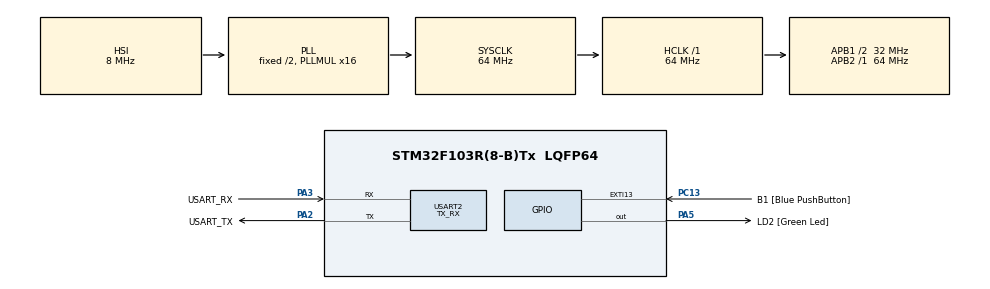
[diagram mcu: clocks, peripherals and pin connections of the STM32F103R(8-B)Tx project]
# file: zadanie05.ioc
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Mcu.Family=STM32F1
Mcu.Name=STM32F103R(8-B)Tx
Mcu.Package=LQFP64
NVIC.EXTI15_10_IRQn=true\:0\:0\:false\:false\:true\:true\:true
NVIC.PriorityGroup=NVIC_PRIORITYGROUP_4
NVIC.USART2_IRQn=true\:0\:0\:false\:false\:true\:true\:true
PA13.GPIO_Label=TMS
PA13.Mode=Serial_Wire
PA13.Signal=SYS_JTMS-SWDIO
PA14.GPIO_Label=TCK
PA14.Mode=Serial_Wire
PA14.Signal=SYS_JTCK-SWCLK
PA2.GPIO_Label=USART_TX
PA2.GPIO_Mode=GPIO_MODE_AF_PP
PA2.GPIO_PuPd=GPIO_NOPULL
PA2.GPIO_Speed=GPIO_SPEED_FREQ_LOW
PA2.Mode=Asynchronous
PA2.Signal=USART2_TX
PA3.GPIO_Label=USART_RX
PA3.GPIO_Mode=GPIO_MODE_AF_PP
PA3.GPIO_PuPd=GPIO_NOPULL
PA3.GPIO_Speed=GPIO_SPEED_FREQ_LOW
PA3.Mode=Asynchronous
PA3.Signal=USART2_RX
PA5.GPIO_Label=LD2 [Green Led]
PA5.GPIO_ModeDefaultOutputPP=GPIO_MODE_OUTPUT_PP
PA5.GPIO_PuPd=GPIO_NOPULL
PA5.GPIO_Speed=GPIO_SPEED_FREQ_LOW
PA5.Signal=GPIO_Output
PB3.GPIO_Label=SWO
PB3.Signal=SYS_JTDO-TRACESWO
PC13-TAMPER-RTC.GPIO_Label=B1 [Blue PushButton]
PC13-TAMPER-RTC.GPIO_PuPd=GPIO_NOPULL
PC13-TAMPER-RTC.Signal=GPXTI13
PC14-OSC32_IN.Mode=LSE-External-Oscillator
PC14-OSC32_IN.Signal=RCC_OSC32_IN
PC15-OSC32_OUT.Mode=LSE-External-Oscillator
PC15-OSC32_OUT.Signal=RCC_OSC32_OUT
PD0-OSC_IN.Mode=HSE-External-Clock-Source
PD0-OSC_IN.Signal=RCC_OSC_IN
PD1-OSC_OUT.Mode=HSE-External-Clock-Source
PD1-OSC_OUT.Signal=RCC_OSC_OUT
ProjectManager.HeapSize=0x200
ProjectManager.StackSize=0x400
ProjectManager.TargetToolchain=STM32CubeIDE
RCC.AHBFreq_Value=64000000
RCC.APB1CLKDivider=RCC_HCLK_DIV2
RCC.APB1Freq_Value=32000000
RCC.APB1TimFreq_Value=64000000
RCC.APB2Freq_Value=64000000
RCC.APB2TimFreq_Value=64000000
RCC.HCLKFreq_Value=64000000
RCC.PLLMUL=RCC_PLL_MUL16
RCC.RTCClockSelection=RCC_RTCCLKSOURCE_LSE
RCC.SYSCLKFreq_VALUE=64000000
RCC.SYSCLKSource=RCC_SYSCLKSOURCE_PLLCLK
RCC.USBFreq_Value=64000000
USART2.Mode=MODE_TX_RX
USART2.VirtualMode=VM_ASYNC
board=NUCLEO-F103RB

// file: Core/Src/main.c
/* USER CODE BEGIN Header */
/**
  ******************************************************************************
  * @file           : main.c
  * @brief          : Main program body
  ******************************************************************************
  * @attention
  *
  * <h2><center>&copy; Copyright (c) 2022 STMicroelectronics.
  * All rights reserved.</center></h2>
  *
  * This software component is licensed by ST under BSD 3-Clause license,
  * the "License"; You may not use this file except in compliance with the
  * License. You may obtain a copy of the License at:
  *                        opensource.org/licenses/BSD-3-Clause
  *
  ******************************************************************************
  */
/* USER CODE END Header */
#include "main.h"
#include "usart.h"
#include "gpio.h"

/* USER CODE BEGIN PV */
uint8_t znak;
uint8_t kom[33];
uint16_t dl_kom;
/* USER CODE END PV */

void SystemClock_Config(void);

int main(void)
{

  /* MCU Configuration--------------------------------------------------------*/

  /* Reset of all peripherals, Initializes the Flash interface and the Systick. */
  HAL_Init();

  /* Configure the system clock */
  SystemClock_Config();

  /* Initialize all configured peripherals */
  MX_GPIO_Init();
  MX_USART2_UART_Init();
  /* USER CODE BEGIN 2 */
  HAL_UART_Receive_IT(&huart2, &znak, 1);
  /* USER CODE END 2 */

  /* Infinite loop */
  while (1)
  {

  }
}

void SystemClock_Config(void)
{
  RCC_OscInitTypeDef RCC_OscInitStruct = {0};
  RCC_ClkInitTypeDef RCC_ClkInitStruct = {0};

  /** Initializes the RCC Oscillators according to the specified parameters
  * in the RCC_OscInitTypeDef structure.
  */
  RCC_OscInitStruct.OscillatorType = RCC_OSCILLATORTYPE_HSI;
  RCC_OscInitStruct.HSIState = RCC_HSI_ON;
  RCC_OscInitStruct.HSICalibrationValue = RCC_HSICALIBRATION_DEFAULT;
  RCC_OscInitStruct.PLL.PLLState = RCC_PLL_ON;
  RCC_OscInitStruct.PLL.PLLSource = RCC_PLLSOURCE_HSI_DIV2;
  RCC_OscInitStruct.PLL.PLLMUL = RCC_PLL_MUL16;
  if (HAL_RCC_OscConfig(&RCC_OscInitStruct) != HAL_OK)
  {
    Error_Handler();
  }
  /** Initializes the CPU, AHB and APB buses clocks
  */
  RCC_ClkInitStruct.ClockType = RCC_CLOCKTYPE_HCLK|RCC_CLOCKTYPE_SYSCLK
                              |RCC_CLOCKTYPE_PCLK1|RCC_CLOCKTYPE_PCLK2;
  RCC_ClkInitStruct.SYSCLKSource = RCC_SYSCLKSOURCE_PLLCLK;
  RCC_ClkInitStruct.AHBCLKDivider = RCC_SYSCLK_DIV1;
  RCC_ClkInitStruct.APB1CLKDivider = RCC_HCLK_DIV2;
  RCC_ClkInitStruct.APB2CLKDivider = RCC_HCLK_DIV1;

  if (HAL_RCC_ClockConfig(&RCC_ClkInitStruct, FLASH_LATENCY_2) != HAL_OK)
  {
    Error_Handler();
  }
}

/* USER CODE BEGIN 4 */
void HAL_UART_RxCpltCallback(UART_HandleTypeDef *huart){
	if(huart->Instance == USART2){
		if (znak == 'd'){
			HAL_GPIO_WritePin(LD2_GPIO_Port, LD2_Pin, GPIO_PIN_SET);
			sprintf(kom, "otrzymano d\n");
			dl_kom = 12;
		}
		else if (znak == 'e'){
			HAL_GPIO_WritePin(LD2_GPIO_Port, LD2_Pin, GPIO_PIN_RESET);
			sprintf(kom, "otrzymano e\n");
			dl_kom = 12;
		}
		else {
			sprintf(kom, "otrzymano znak rozny od d lub e\n");
			dl_kom = 33;
		}
		HAL_UART_Transmit_IT(&huart2, &kom, dl_kom);
		HAL_UART_Receive_IT(&huart2, &znak, 1);
	}
}
/* USER CODE END 4 */

void Error_Handler(void)
{
  __disable_irq();
  while (1)
  {
  }
}

/************************ (C) COPYRIGHT STMicroelectronics *****END OF FILE****/
